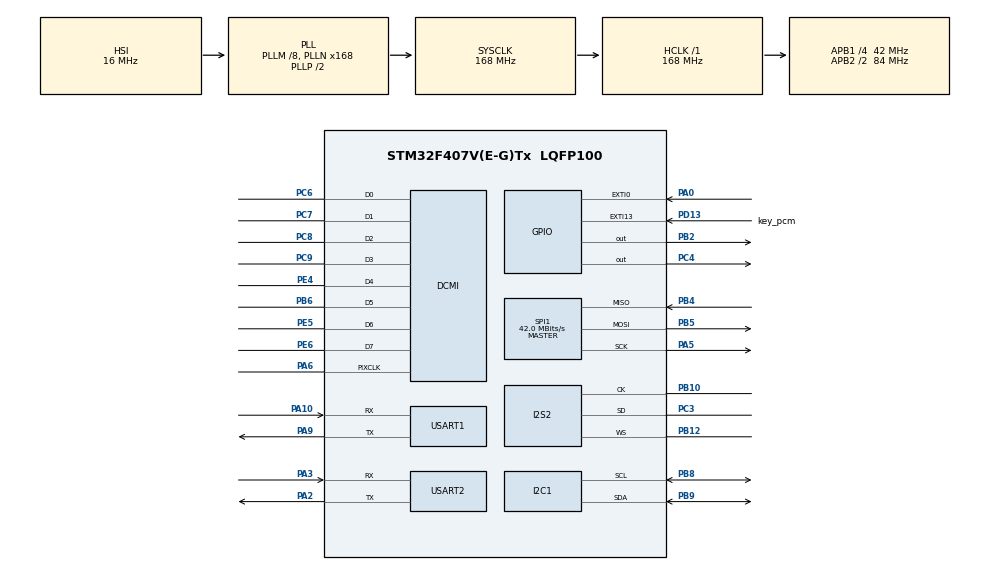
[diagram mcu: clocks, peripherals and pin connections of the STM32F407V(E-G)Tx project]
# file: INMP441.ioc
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DCMI.JPEGMode=DCMI_JPEG_DISABLE
Dma.Request0=SPI2_RX
Dma.Request1=USART1_RX
Dma.Request2=USART1_TX
Dma.SPI2_RX.0.Direction=DMA_PERIPH_TO_MEMORY
Dma.SPI2_RX.0.FIFOMode=DMA_FIFOMODE_DISABLE
Dma.SPI2_RX.0.Instance=DMA1_Stream3
Dma.SPI2_RX.0.MemDataAlignment=DMA_MDATAALIGN_HALFWORD
Dma.SPI2_RX.0.MemInc=DMA_MINC_ENABLE
Dma.SPI2_RX.0.Mode=DMA_CIRCULAR
Dma.SPI2_RX.0.PeriphDataAlignment=DMA_PDATAALIGN_HALFWORD
Dma.SPI2_RX.0.PeriphInc=DMA_PINC_DISABLE
Dma.SPI2_RX.0.Priority=DMA_PRIORITY_LOW
Dma.USART1_RX.1.Direction=DMA_PERIPH_TO_MEMORY
Dma.USART1_RX.1.FIFOMode=DMA_FIFOMODE_DISABLE
Dma.USART1_RX.1.Instance=DMA2_Stream2
Dma.USART1_RX.1.MemDataAlignment=DMA_MDATAALIGN_BYTE
Dma.USART1_RX.1.MemInc=DMA_MINC_ENABLE
Dma.USART1_RX.1.Mode=DMA_NORMAL
Dma.USART1_RX.1.PeriphDataAlignment=DMA_PDATAALIGN_BYTE
Dma.USART1_RX.1.PeriphInc=DMA_PINC_DISABLE
Dma.USART1_RX.1.Priority=DMA_PRIORITY_LOW
Dma.USART1_TX.2.Direction=DMA_MEMORY_TO_PERIPH
Dma.USART1_TX.2.FIFOMode=DMA_FIFOMODE_DISABLE
Dma.USART1_TX.2.Instance=DMA2_Stream7
Dma.USART1_TX.2.MemDataAlignment=DMA_MDATAALIGN_BYTE
Dma.USART1_TX.2.MemInc=DMA_MINC_ENABLE
Dma.USART1_TX.2.Mode=DMA_NORMAL
Dma.USART1_TX.2.PeriphDataAlignment=DMA_PDATAALIGN_BYTE
Dma.USART1_TX.2.PeriphInc=DMA_PINC_DISABLE
Dma.USART1_TX.2.Priority=DMA_PRIORITY_LOW
I2S2.AudioFreq=I2S_AUDIOFREQ_8K
I2S2.DataFormat=I2S_DATAFORMAT_16B_EXTENDED
I2S2.ErrorAudioFreq=-0.36 %
I2S2.FullDuplexMode=I2S_FULLDUPLEXMODE_DISABLE
I2S2.Instance=SPI$Index
I2S2.Mode=I2S_MODE_MASTER_RX
I2S2.RealAudioFreq=7.971 KHz
I2S2.Standard=I2S_STANDARD_PHILIPS
I2S2.VirtualMode=I2S_MODE_MASTER
Mcu.Family=STM32F4
Mcu.Name=STM32F407V(E-G)Tx
Mcu.Package=LQFP100
NVIC.DMA1_Stream3_IRQn=true\:0\:0\:false\:false\:true\:false\:true\:true
NVIC.DMA2_Stream2_IRQn=true\:0\:0\:false\:false\:true\:false\:true\:true
NVIC.DMA2_Stream7_IRQn=true\:0\:0\:false\:false\:true\:false\:true\:true
NVIC.EXTI0_IRQn=true\:0\:0\:false\:false\:true\:true\:true\:true
NVIC.PriorityGroup=NVIC_PRIORITYGROUP_4
PA0-WKUP.GPIO_ModeDefaultEXTI=GPIO_MODE_IT_FALLING
PA0-WKUP.Signal=GPXTI0
PA10.Mode=Asynchronous
PA10.Signal=USART1_RX
PA13.Mode=Serial_Wire
PA13.Signal=SYS_JTMS-SWDIO
PA14.Mode=Serial_Wire
PA14.Signal=SYS_JTCK-SWCLK
PA2.Mode=Asynchronous
PA2.Signal=USART2_TX
PA3.Mode=Asynchronous
PA3.Signal=USART2_RX
PA5.Mode=Full_Duplex_Master
PA5.Signal=SPI1_SCK
PA6.Mode=Slave_8_bits_Embedded_Synchro
PA6.Signal=DCMI_PIXCLK
PA9.Mode=Asynchronous
PA9.Signal=USART1_TX
PB10.Mode=Half_Duplex_Master
PB10.Signal=I2S2_CK
PB12.Mode=Half_Duplex_Master
PB12.Signal=I2S2_WS
PB2.Signal=GPIO_Output
PB4.Mode=Full_Duplex_Master
PB4.Signal=SPI1_MISO
PB5.Mode=Full_Duplex_Master
PB5.Signal=SPI1_MOSI
PB6.Mode=Slave_8_bits_Embedded_Synchro
PB6.Signal=DCMI_D5
PB8.Mode=I2C
PB8.Signal=I2C1_SCL
PB9.Mode=I2C
PB9.Signal=I2C1_SDA
PC3.Mode=Half_Duplex_Master
PC3.Signal=I2S2_SD
PC4.Signal=GPIO_Output
PC6.Mode=Slave_8_bits_Embedded_Synchro
PC6.Signal=DCMI_D0
PC7.Mode=Slave_8_bits_Embedded_Synchro
PC7.Signal=DCMI_D1
PC8.Mode=Slave_8_bits_Embedded_Synchro
PC8.Signal=DCMI_D2
PC9.Mode=Slave_8_bits_Embedded_Synchro
PC9.Signal=DCMI_D3
PD13.GPIO_Label=key_pcm
PD13.GPIO_PuPd=GPIO_PULLDOWN
PD13.Signal=GPXTI13
PE4.Mode=Slave_8_bits_Embedded_Synchro
PE4.Signal=DCMI_D4
PE5.Mode=Slave_8_bits_Embedded_Synchro
PE5.Signal=DCMI_D6
PE6.Mode=Slave_8_bits_Embedded_Synchro
PE6.Signal=DCMI_D7
PH0-OSC_IN.Mode=HSE-External-Oscillator
PH0-OSC_IN.Signal=RCC_OSC_IN
PH1-OSC_OUT.Mode=HSE-External-Oscillator
PH1-OSC_OUT.Signal=RCC_OSC_OUT
ProjectManager.HeapSize=0x10000
ProjectManager.StackSize=0x1000
ProjectManager.TargetToolchain=MDK-ARM V5.27
RCC.48MHZClocksFreq_Value=84000000
RCC.AHBFreq_Value=168000000
RCC.APB1CLKDivider=RCC_HCLK_DIV4
RCC.APB1Freq_Value=42000000
RCC.APB1TimFreq_Value=84000000
RCC.APB2CLKDivider=RCC_HCLK_DIV2
RCC.APB2Freq_Value=84000000
RCC.APB2TimFreq_Value=168000000
RCC.CortexFreq_Value=168000000
RCC.HCLKFreq_Value=168000000
RCC.HSE_VALUE=25000000
RCC.HSI_VALUE=16000000
RCC.LSE_VALUE=32768
RCC.PLLI2SN=50
RCC.PLLM=8
RCC.PLLN=168
RCC.SYSCLKFreq_VALUE=168000000
RCC.SYSCLKSource=RCC_SYSCLKSOURCE_PLLCLK
RCC.VCOOutputFreq_Value=336000000
SPI1.CalculateBaudRate=42.0 MBits/s
SPI1.Direction=SPI_DIRECTION_2LINES
SPI1.Mode=SPI_MODE_MASTER
SPI1.VirtualType=VM_MASTER
USART1.VirtualMode=VM_ASYNC
USART2.VirtualMode=VM_ASYNC
board=custom

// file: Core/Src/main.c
/* USER CODE BEGIN Header */
/**
  ******************************************************************************
  * @file           : main.c
  * @brief          : Main program body
  ******************************************************************************
  * @attention
  *
  * Copyright (c) 2025 STMicroelectronics.
  * All rights reserved.
  *
  * This software is licensed under terms that can be found in the LICENSE file
  * in the root directory of this software component.
  * If no LICENSE file comes with this software, it is provided AS-IS.
  *
  ******************************************************************************
  */
/* USER CODE END Header */
#include "main.h"
#include "dcmi.h"
#include "dma.h"
#include "i2c.h"
#include "i2s.h"
#include "spi.h"
#include "usart.h"
#include "gpio.h"

/* USER CODE BEGIN Includes */
#include <stdio.h>
#include "speex/speex.h"
/* USER CODE END Includes */

/* USER CODE BEGIN PD */
#define FRAME_SIZE 160
#define BUFFER_SIZE 50
#define EVER_SIZE 40
#define EVER_SIZE_X2 80
int16_t dma[EVER_SIZE_X2];
int cb_cnt=0;
int rptr,wptr;
signed short pcm[BUFFER_SIZE][FRAME_SIZE];
/* USER CODE END PD */

/* USER CODE BEGIN PV */
// ??PCM??
static uint8_t pcm_test[]= {
  0x00, 0x00, 0x00, 0x00, 0xFF, 0xFF, 0x00, 0x00, 0x00, 0x00, 0x00, 0x00, 0x00, 0x00, 0xFF, 0xFF,
  0x00, 0x00, 0x00, 0x00, 0x00, 0x00, 0x00, 0x00, 0x00, 0x00, 0x00, 0x00, 0x00, 0x00, 0x00, 0x00,
  0x00, 0x00, 0x00, 0x00, 0x00, 0x00, 0x00, 0x00, 0x00, 0x00, 0x00, 0x00, 0xFF, 0xFF, 0x00, 0x00,
  0x00, 0x00, 0x00, 0x00, 0x00, 0x00, 0x00, 0x00, 0x00, 0x00, 0x00, 0x00, 0x00, 0x00, 0x00, 0x00,
  0x01, 0x00, 0x00, 0x00, 0xFF, 0xFF, 0x00, 0x00, 0x00, 0x00, 0x00, 0x00, 0x00, 0x00, 0x00, 0x00,
  0x00, 0x00, 0x00, 0x00, 0x00, 0x00, 0x00, 0x00, 0x00, 0x00, 0x00, 0x00, 0x00, 0x00, 0x00, 0x00,
  0x00, 0x00, 0x00, 0x00, 0x00, 0x00, 0x00, 0x00, 0x00, 0x00, 0x00, 0x00, 0xFF, 0xFF, 0x00, 0x00,
  0x00, 0x00, 0x00, 0x00, 0x00, 0x00, 0x00, 0x00, 0x00, 0x00, 0x00, 0x00, 0x00, 0x00, 0x01, 0x00,
  0xFF, 0xFF, 0x01, 0x00, 0xFF, 0xFF, 0x02, 0x00, 0xFE, 0xFF, 0x02, 0x00, 0xFC, 0xFF, 0x04, 0x00,
  0xFB, 0xFF, 0x05, 0x00, 0xFB, 0xFF, 0x06, 0x00, 0xF9, 0xFF, 0x09, 0x00, 0xF3, 0xFF, 0x12, 0x00,
  0xE3, 0xFF, 0x3A, 0x00, 0x52, 0xFF, 0xFC, 0xFA, 0x59, 0x00, 0xFE, 0x02, 0xF1, 0xFD, 0x2E, 0xFE,
  0x92, 0x02, 0xD0, 0x03, 0xAE, 0xF9, 0x87, 0xFB, 0x1D, 0xFE, 0xFA, 0xFD, 0xC2, 0x00, 0xAF, 0xFE,
  0xAD, 0xFC, 0xB3, 0xFC, 0x3E, 0x00, 0xA3, 0x00, 0x23, 0x00, 0x05, 0x05, 0xF6, 0xFC, 0xF0, 0xF7,
  0x38, 0x02, 0x63, 0x02, 0x0C, 0xFD, 0xAB, 0xF8, 0x06, 0x00, 0x62, 0x04, 0x04, 0xFD, 0xBA, 0xFC,
  0x3E, 0x01, 0x94, 0xFF, 0x38, 0xFF, 0x83, 0x00, 0x49, 0x00, 0x4A, 0x02, 0xFC, 0xFF, 0x6D, 0x00,
  0x99, 0x00, 0x50, 0x01, 0xB4, 0x03, 0x7D, 0xFD, 0x4B, 0xFE, 0x09, 0xFF, 0x35, 0x01, 0xA2, 0x02,
  0xCC, 0xFF, 0xB5, 0xFE, 0x7A, 0xFB, 0xD0, 0xFE, 0xB8, 0xFA, 0xA1, 0x00, 0xC8, 0x03, 0x56, 0xFB,
  0x76, 0xFD, 0xB6, 0x00, 0x28, 0x06, 0x1E, 0x02, 0x7A, 0xFF, 0xF1, 0x01, 0xB4, 0xFF, 0xB1, 0x02,
  0xA2, 0x00, 0x22, 0x00, 0x4F, 0x00, 0x5B, 0xFF, 0xC9, 0x01, 0x94, 0x05, 0xDE, 0x00, 0xAC, 0x03,
  0xC3, 0xFE, 0x10, 0xFC, 0xFF, 0x00, 0x5F, 0xFD, 0x00, 0xFD, 0x92, 0xFD, 0x1F, 0x01, 0x6A, 0x02,
  0x19, 0xFF, 0x05, 0xFC, 0x2D, 0xFF, 0x4F, 0x02, 0x2C, 0x01, 0x1D, 0x01, 0xE2, 0x02, 0xB2, 0x03,
  0x04, 0x03, 0x4B, 0x02, 0xAB, 0x03, 0x47, 0xFF, 0x2B, 0xFC, 0xE3, 0xFE, 0x54, 0xFF, 0x3A, 0x00,
  0xE4, 0xFD, 0xE1, 0xF9, 0x7C, 0xFE, 0x0F, 0xF9, 0xDD, 0xFB, 0xE3, 0xFD, 0x49, 0xFF, 0x7D, 0x09,
  0xB4, 0x05, 0x7A, 0xFF, 0x9E, 0xFB, 0xDA, 0xFB, 0xA6, 0xFD, 0x2C, 0xFD, 0xC0, 0x05, 0x17, 0x04,
  0xBC, 0x00, 0x75, 0x07, 0x2A, 0x02, 0x23, 0xFF, 0xA9, 0xFA, 0x68, 0xFE, 0xF7, 0xFE, 0x72, 0xFB,
  0x2E, 0x04, 0xC4, 0x06, 0xAE, 0x02, 0xBC, 0xFC, 0x73, 0xFF, 0x0F, 0xFD, 0x30, 0xFB, 0x88, 0xFF,
  0x8D, 0x05, 0x50, 0x05, 0x11, 0x03, 0x55, 0x04, 0x16, 0x04, 0x28, 0xFE, 0x15, 0xFC, 0x33, 0x04,
  0x58, 0x05, 0x19, 0x03, 0xC0, 0xFE, 0x04, 0x02, 0xB8, 0x02, 0xB0, 0x00, 0x1D, 0xFD, 0x8D, 0xFA,
  0xF8, 0xFB, 0x4F, 0xFA, 0x5A, 0xFA, 0xA9, 0xFD, 0x16, 0xFD, 0x2A, 0xFD, 0xDC, 0x01, 0xDE, 0xFC,
  0x59, 0x00, 0x8D, 0x03, 0x42, 0x03, 0x3E, 0x01, 0x33, 0x01, 0x37, 0x00, 0xC0, 0xFD, 0x7D, 0xFE,
  0x6C, 0xFC, 0x6E, 0x01, 0x58, 0xFD, 0x1B, 0xF8, 0x25, 0xFD, 0x2E, 0xFF, 0x02, 0xFE, 0xEC, 0xFC,
  0xF0, 0xFE, 0xFB, 0xFE, 0x3E, 0xFC, 0xCB, 0xFD, 0x3F, 0xFB, 0xDB, 0xF9, 0x26, 0xFC, 0xC5, 0xF9,
};

void print_hex(char *data, int size) {
    //printf("数据 (%d 字节): ", size);
    for(int i = 0; i < size; i++) {
        printf("%02X", (uint8_t)data[i]);
    }
    printf("\n");
}

int fputc(int ch, FILE *f) {
    HAL_UART_Transmit(&huart1, (uint8_t *)&ch,1,20);  // ??USART1,???????
    return ch;
}
int pcm_ready=3;
void HAL_GPIO_EXTI_Callback(uint16_t GPIO_Pin)
{
  if(GPIO_Pin==GPIO_PIN_0)
  {
    if(HAL_GPIO_ReadPin(GPIOA,GPIO_PIN_0)==0)
    {
			//pcm_ready++;
			HAL_GPIO_TogglePin(GPIOB,GPIO_PIN_2);
			if(pcm_ready==3){
				pcm_ready=1;
				HAL_I2S_Receive_DMA(&hi2s2,(uint16_t *)dma,EVER_SIZE_X2);
			}
			else{
				pcm_ready=0;
				HAL_I2S_DMAStop(&hi2s2);
			}
    }
  }
}

void i2s_settle(signed short *orignal_data,signed short *now_data){
	if(orignal_data[0]!=0){
  for(int i=0;i<EVER_SIZE_X2;i+=2){
    now_data[i/2]=orignal_data[i];
  }}
	else{
	for(int i=1;i<EVER_SIZE_X2;i+=2){
    now_data[i/2]=orignal_data[i];
  }}
}

void HAL_I2S_RxCpltCallback(I2S_HandleTypeDef *hi2s)
{
	if(hi2s==&hi2s2){
		//以采样频率的十分之一，串口发送采样值
		if(cb_cnt<4) {
			i2s_settle(dma,pcm[wptr]+cb_cnt*EVER_SIZE);
			cb_cnt++;
		}
		else {
			wptr = wptr==BUFFER_SIZE-1 ? 0 : wptr + 1;
			cb_cnt=0;
		}

	}
}
/* USER CODE END PV */

void SystemClock_Config(void);

int main(void)
{

  /* MCU Configuration--------------------------------------------------------*/

  /* Reset of all peripherals, Initializes the Flash interface and the Systick. */
  HAL_Init();

  /* Configure the system clock */
  SystemClock_Config();

  /* Initialize all configured peripherals */
  MX_GPIO_Init();
  MX_DMA_Init();
  MX_I2S2_Init();
  MX_USART1_UART_Init();
  MX_DCMI_Init();
  MX_I2C1_Init();
  MX_SPI1_Init();
  MX_USART2_UART_Init();
  /* USER CODE BEGIN 2 */

		SpeexBits g_enc_bits;
		void *g_enc_state;
		int tmp = 0;
		char enc_char[200];
		int nbBits;
		int QUALITY=7;
    speex_bits_init(&g_enc_bits);

    g_enc_state = speex_encoder_init(speex_lib_get_mode(SPEEX_MODEID_NB));
    speex_encoder_ctl(g_enc_state, SPEEX_SET_QUALITY, &QUALITY);

		tmp=0;
		speex_encoder_ctl(g_enc_state, SPEEX_SET_VBR, &tmp);
		tmp=7;
		speex_encoder_ctl(g_enc_state, SPEEX_SET_QUALITY, &tmp);
		tmp=1;
		speex_encoder_ctl(g_enc_state, SPEEX_SET_COMPLEXITY, &tmp);
    tmp=1;
    speex_encoder_ctl(g_enc_state, SPEEX_SET_HIGHPASS, &tmp);

  /* USER CODE END 2 */

  /* Infinite loop */
  /* USER CODE BEGIN WHILE */
  while (1)
  {
			if(wptr != rptr&&pcm_ready==1)
			{
				if(cb_cnt>=(FRAME_SIZE/EVER_SIZE))
				{
					speex_bits_reset(&g_enc_bits);
					speex_encode_int(g_enc_state,pcm[rptr], &g_enc_bits);
					nbBits = speex_bits_write(&g_enc_bits, enc_char, 200);
					//printf("字长%d ",nbBytes);
					print_hex(enc_char,nbBits);
					//HAL_UART_Transmit_DMA(&huart1,(uint8_t *)enc_char,76);
						rptr = (rptr==BUFFER_SIZE-1) ? 0 : rptr+1;
				}
		}
			else if(pcm_ready==0){
				printf("FFFFF");
				printf("\n");pcm_ready=3;
			}
    /* USER CODE END WHILE */

  }
}

void SystemClock_Config(void)
{
  RCC_OscInitTypeDef RCC_OscInitStruct = {0};
  RCC_ClkInitTypeDef RCC_ClkInitStruct = {0};

  /** Configure the main internal regulator output voltage
  */
  __HAL_RCC_PWR_CLK_ENABLE();
  __HAL_PWR_VOLTAGESCALING_CONFIG(PWR_REGULATOR_VOLTAGE_SCALE1);

  /** Initializes the RCC Oscillators according to the specified parameters
  * in the RCC_OscInitTypeDef structure.
  */
  RCC_OscInitStruct.OscillatorType = RCC_OSCILLATORTYPE_HSI;
  RCC_OscInitStruct.HSIState = RCC_HSI_ON;
  RCC_OscInitStruct.HSICalibrationValue = RCC_HSICALIBRATION_DEFAULT;
  RCC_OscInitStruct.PLL.PLLState = RCC_PLL_ON;
  RCC_OscInitStruct.PLL.PLLSource = RCC_PLLSOURCE_HSI;
  RCC_OscInitStruct.PLL.PLLM = 8;
  RCC_OscInitStruct.PLL.PLLN = 168;
  RCC_OscInitStruct.PLL.PLLP = RCC_PLLP_DIV2;
  RCC_OscInitStruct.PLL.PLLQ = 4;
  if (HAL_RCC_OscConfig(&RCC_OscInitStruct) != HAL_OK)
  {
    Error_Handler();
  }

  /** Initializes the CPU, AHB and APB buses clocks
  */
  RCC_ClkInitStruct.ClockType = RCC_CLOCKTYPE_HCLK|RCC_CLOCKTYPE_SYSCLK
                              |RCC_CLOCKTYPE_PCLK1|RCC_CLOCKTYPE_PCLK2;
  RCC_ClkInitStruct.SYSCLKSource = RCC_SYSCLKSOURCE_PLLCLK;
  RCC_ClkInitStruct.AHBCLKDivider = RCC_SYSCLK_DIV1;
  RCC_ClkInitStruct.APB1CLKDivider = RCC_HCLK_DIV4;
  RCC_ClkInitStruct.APB2CLKDivider = RCC_HCLK_DIV2;

  if (HAL_RCC_ClockConfig(&RCC_ClkInitStruct, FLASH_LATENCY_5) != HAL_OK)
  {
    Error_Handler();
  }
}

void Error_Handler(void)
{
  __disable_irq();
  while (1)
  {
  }
}
